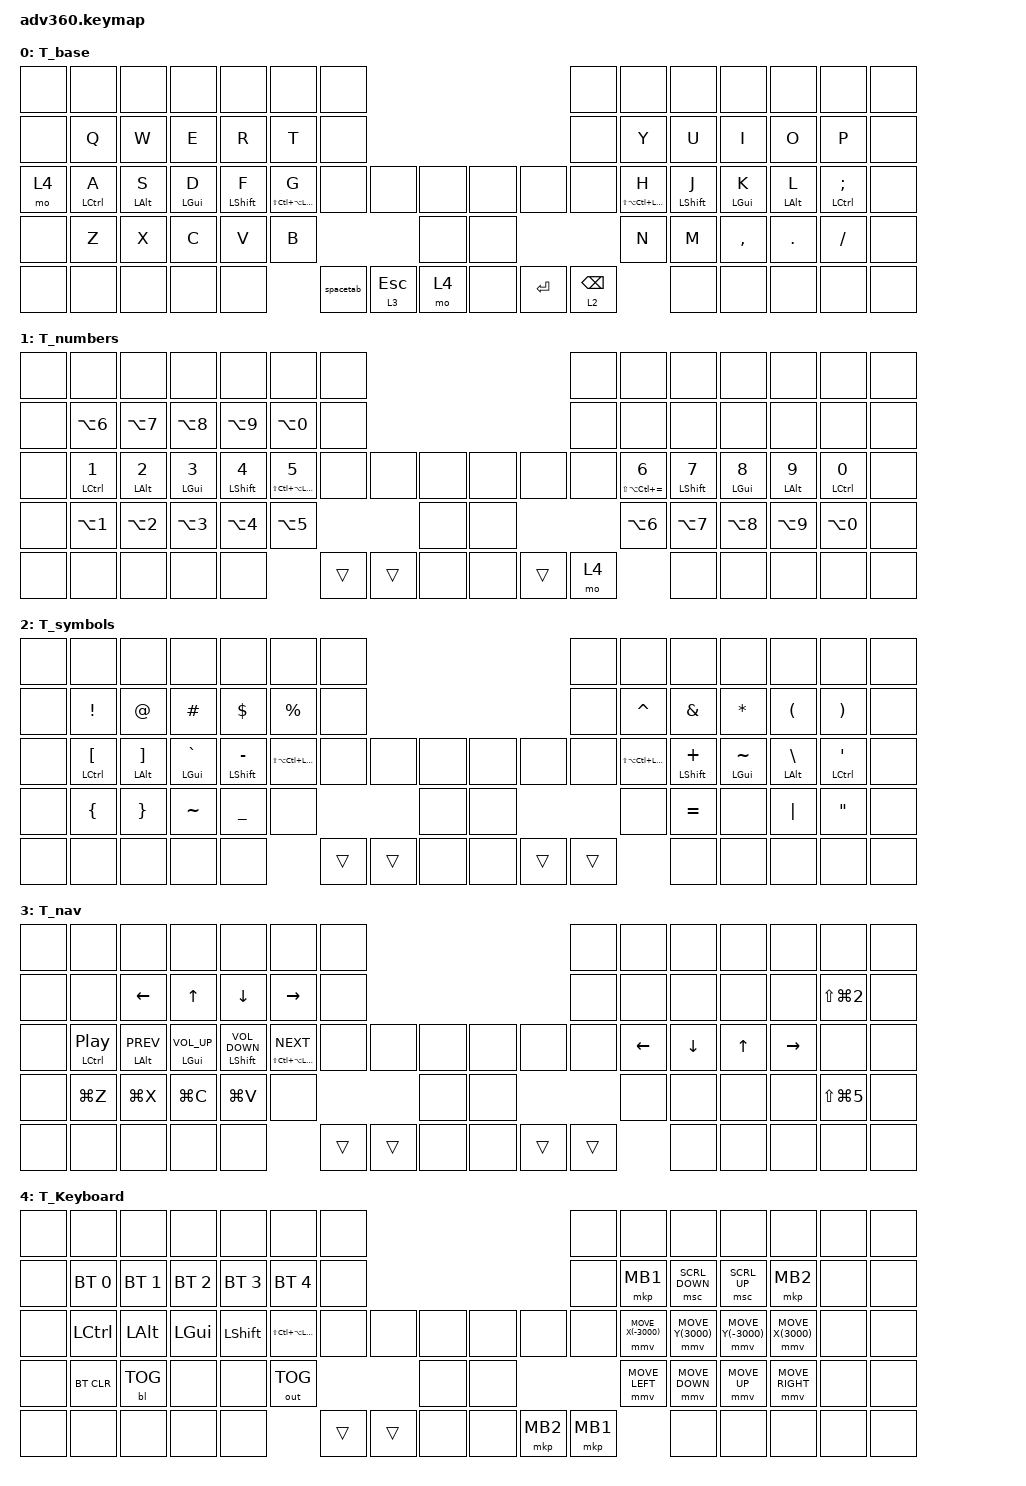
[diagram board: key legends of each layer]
/*
 * Copyright (c) 2020 The ZMK Contributors
 *
 * SPDX-License-Identifier: MIT
 */
/* THIS FILE WAS GENERATED!
 *
 * This file was generated automatically. You may or may not want to
 * edit it directly.
 */

#define ZMK_POINTING_DEFAULT_MOVE_VAL 1500
#define ZMK_POINTING_DEFAULT_SCRL_VAL 12

#include <behaviors.dtsi>
#include <dt-bindings/zmk/backlight.h>
#include <dt-bindings/zmk/bt.h>
#include <dt-bindings/zmk/keys.h>
#include <dt-bindings/zmk/outputs.h>
#include <dt-bindings/zmk/pointing.h>

/ {
    behaviors {
        #include "macros.dtsi"
    #include "version.dtsi"

        hmr: hmr {
            compatible = "zmk,behavior-hold-tap";
            label = "HMR";
            #binding-cells = <2>;
            tapping-term-ms = <280>;
            quick_tap_ms = <175>;
            flavor = "balanced";
            bindings = <&kp>, <&kp>;

            require-prior-idle-ms = <150>;
            quick-tap-ms = <175>;
            hold-trigger-on-release;
            hold-trigger-key-positions = <66 65 69 70 15 16 17 18 19 32 29 30 31 33 51 50 49 48 47>;
        };

        hml: hml {
            compatible = "zmk,behavior-hold-tap";
            label = "HML";
            #binding-cells = <2>;
            tapping-term-ms = <280>;
            quick_tap_ms = <175>;
            flavor = "balanced";
            bindings = <&kp>, <&kp>;

            require-prior-idle-ms = <150>;
            quick-tap-ms = <175>;
            hold-trigger-on-release;
            hold-trigger-key-positions = <22 23 24 25 26 58 57 43 44 42 56 41 40 54 55 69 70 65 66>;
        };

        hmlG: hmlG {
            compatible = "zmk,behavior-hold-tap";
            label = "HMLG";
            #binding-cells = <2>;
            tapping-term-ms = <280>;
            quick_tap_ms = <175>;
            flavor = "balanced";
            bindings = <&kp>, <&kp>;

            require-prior-idle-ms = <150>;
            quick-tap-ms = <175>;
            hold-trigger-on-release;
            hold-trigger-key-positions = <22 23 24 25 26 58 57 43 44 42 56 41 40 54 55 69 70 65 66 16 15 19 47 48 49 50 51 18 17 32 30 29 33>;
        };

        space_lt: space_lt {
            compatible = "zmk,behavior-hold-tap";
            label = "SPACE_LT";
            bindings = <&mo>, <&kp>;

            #binding-cells = <2>;
            flavor = "tap-preferred";
            tapping-term-ms = <150>;
        };

        clt: clt {
            compatible = "zmk,behavior-hold-tap";
            label = "CLT";
            bindings = <&mo>, <&kp>;

            #binding-cells = <2>;
            flavor = "tap-unless-interrupted";
            tapping-term-ms = <500>;
            quick-tap-ms = <150>;
        };

        hmr_hwu: hmr_hwu {
            compatible = "zmk,behavior-hold-tap";
            label = "HMR_HWU";
            #binding-cells = <2>;
            tapping-term-ms = <280>;
            quick_tap_ms = <175>;
            flavor = "balanced";
            bindings = <&kp>, <&kp>;

            quick-tap-ms = <175>;
            hold-trigger-on-release;
            hold-trigger-key-positions = <66 65 69 70 15 16 17 18 19 32 29 30 31 33 51 50 49 48 47>;
            hold-while-undecided;
        };

        hml_hwu: hml_hwu {
            compatible = "zmk,behavior-hold-tap";
            label = "HML_HWU";
            #binding-cells = <2>;
            tapping-term-ms = <280>;
            quick_tap_ms = <175>;
            flavor = "balanced";
            bindings = <&kp>, <&kp>;

            quick-tap-ms = <175>;
            hold-trigger-on-release;
            hold-trigger-key-positions = <22 23 24 25 26 58 57 43 44 42 56 41 40 54 55 69 70 65 66>;
            hold-while-undecided;
        };

        spacetab: spacetab {
            compatible = "zmk,behavior-mod-morph";
            label = "SPACETAB";
            bindings = <&space_lt 1 SPACE>, <&kp TAB>;

            #binding-cells = <0>;
            mods = <(MOD_LCTL)>;
        };
    };

    combos {
        compatible = "zmk,combos";

        caps-shift {
            bindings = <&caps_word>;
            key-positions = <32 41>;
            require-prior-idle-ms = <200>;
        };

        tab2 {
            bindings = <&kp TAB>;
            key-positions = <18 19>;
        };
    };

    keymap {
        compatible = "zmk,keymap";

        T_base {
            bindings = <
&none  &none         &none        &none             &none                  &none                    &none                                               &none             &none                    &none                  &none        &none        &none                 &none
&none  &kp Q         &kp W        &kp E             &kp R                  &kp T                    &none                                               &none             &kp Y                    &kp U                  &kp I        &kp O        &kp P                 &none
&mo 4  &hml LCTRL A  &hml LALT S  &hmlG LEFT_GUI D  &hml_hwu LEFT_SHIFT F  &hml LS(LC(LA(LGUI))) G  &none      &none       &none      &none  &none      &none             &hmr LS(LA(LC(LGUI))) H  &hmr_hwu LEFT_SHIFT J  &hmr LGUI K  &hmr LALT L  &hmr LCTRL SEMICOLON  &none
&none  &kp Z         &kp X        &kp C             &kp V                  &kp B                                           &none      &none                               &kp N                    &kp M                  &kp COMMA    &kp DOT      &kp SLASH             &none
&none  &none         &none        &none             &none                                           &spacetab  &clt 3 ESC  &mo 4      &none  &kp ENTER  &clt 2 BACKSPACE                           &none                  &none        &none        &none                 &none
            >;
        };

        T_numbers {
            bindings = <
&none  &none                &none               &none                   &none                     &none                           &none                                     &none  &none                            &none                     &none               &none               &none                &none
&none  &kp LA(NUMBER_6)     &kp LA(N7)          &kp LA(N8)              &kp LA(N9)                &kp LA(N0)                      &none                                     &none  &none                            &none                     &none               &none               &none                &none
&none  &hml LCTRL NUMBER_1  &hml LALT NUMBER_2  &hml LEFT_GUI NUMBER_3  &hml LEFT_SHIFT NUMBER_4  &hml LS(LC(LA(LGUI))) NUMBER_5  &none   &none   &none      &none  &none   &none  &hmr LS(LA(LC(EQUAL))) NUMBER_6  &hmr LEFT_SHIFT NUMBER_7  &hmr LGUI NUMBER_8  &hmr LALT NUMBER_9  &hmr LCTRL NUMBER_0  &none
&none  &kp LA(NUMBER_1)     &kp LA(NUMBER_2)    &kp LA(NUMBER_3)        &kp LA(NUMBER_4)          &kp LA(NUMBER_5)                                &none      &none                 &kp LA(NUMBER_6)                 &kp LA(NUMBER_7)          &kp LA(NUMBER_8)    &kp LA(NUMBER_9)    &kp LA(NUMBER_0)     &none
&none  &none                &none               &none                   &none                                                     &trans  &trans  &none      &none  &trans  &mo 4                                   &none                     &none               &none               &none                &none
            >;
        };

        T_symbols {
            bindings = <
&none  &none                    &none                    &none                &none                  &none                     &none                                     &none   &none                     &none                 &none            &none                 &none                    &none
&none  &kp EXCLAMATION          &kp AT_SIGN              &kp HASH             &kp DOLLAR             &kp PERCENT               &none                                     &none   &kp CARET                 &kp AMPERSAND         &kp ASTERISK     &kp LEFT_PARENTHESIS  &kp RIGHT_PARENTHESIS    &none
&none  &hml LCTRL LEFT_BRACKET  &hml LALT RIGHT_BRACKET  &hml LEFT_GUI GRAVE  &hml LEFT_SHIFT MINUS  &kp LS(LA(LC(LEFT_GUI)))  &none   &none   &none      &none  &none   &none   &kp LS(LA(LC(LEFT_GUI)))  &hmr LEFT_SHIFT PLUS  &hmr LGUI TILDE  &hmr LALT BACKSLASH   &hmr LCTRL SINGLE_QUOTE  &none
&none  &kp LEFT_BRACE           &kp RIGHT_BRACE          &kp TILDE            &kp UNDER              &none                                     &none      &none                  &none                     &kp EQUAL             &none            &kp PIPE              &kp DQT                  &none
&none  &none                    &none                    &none                &none                                            &trans  &trans  &none      &none  &trans  &trans                            &none                 &none            &none                 &none                    &none
            >;
        };

        T_nav {
            bindings = <
&none  &none            &none             &none                      &none                          &none                         &none                                     &none   &none           &none           &none         &none            &none                 &none
&none  &none            &kp LEFT_ARROW    &kp UP_ARROW               &kp DOWN_ARROW                 &kp RIGHT_ARROW               &none                                     &none   &none           &none           &none         &none            &kp LS(LG(NUMBER_2))  &none
&none  &hml LCTRL C_PP  &hml LALT C_PREV  &hml LEFT_GUI C_VOLUME_UP  &hml LEFT_SHIFT C_VOLUME_DOWN  &hml LS(LC(LA(LGUI))) C_NEXT  &none   &none   &none      &none  &none   &none   &kp LEFT_ARROW  &kp DOWN_ARROW  &kp UP_ARROW  &kp RIGHT_ARROW  &none                 &none
&none  &kp LG(Z)        &kp LG(X)         &kp LG(C)                  &kp LG(V)                      &none                                         &none      &none                  &none           &none           &none         &none            &kp LS(LG(NUMBER_5))  &none
&none  &none            &none             &none                      &none                                                        &trans  &trans  &none      &none  &trans  &trans                  &none           &none         &none            &none                 &none
            >;
        };

        T_Keyboard {
            bindings = <
&none  &none         &none         &none         &none         &none                 &none                                       &none     &none               &none              &none               &none              &none  &none
&none  &bt BT_SEL 0  &bt BT_SEL 1  &bt BT_SEL 2  &bt BT_SEL 3  &bt BT_SEL 4          &none                                       &none     &mkp MB1            &msc SCRL_DOWN     &msc SCRL_UP        &mkp MB2           &none  &none
&none  &kp LCTRL     &kp LALT      &kp LEFT_GUI  &kp LSHFT     &kp LS(LC(LA(LGUI)))  &none   &none   &none      &none  &none     &none     &mmv MOVE_X(-3000)  &mmv MOVE_Y(3000)  &mmv MOVE_Y(-3000)  &mmv MOVE_X(3000)  &none  &none
&none  &bt BT_CLR    &bl BL_TOG    &none         &none         &out OUT_TOG                          &none      &none                      &mmv MOVE_LEFT      &mmv MOVE_DOWN     &mmv MOVE_UP        &mmv MOVE_RIGHT    &none  &none
&none  &none         &none         &none         &none                               &trans  &trans  &none      &none  &mkp MB2  &mkp MB1                      &none              &none               &none              &none  &none
            >;
        };
    };

    conditional_layers { compatible = "zmk,conditional-layers"; };
};
